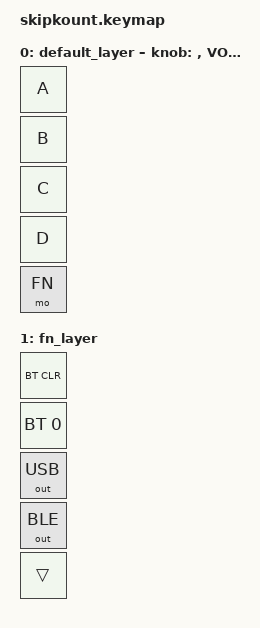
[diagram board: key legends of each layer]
#include <behaviors.dtsi>
#include <dt-bindings/zmk/keys.h>
#include <dt-bindings/zmk/bt.h>
#include <dt-bindings/zmk/outputs.h>

// Layers
#define DEFAULT 0
#define FN 1

/ {  
  keymap {
    compatible = "zmk,keymap";

    /* Default Layer
     * .---------------------------.
     * |  A | XIAO | CALC |  FN  |
     * |------+------+------+------|
     * |  B |   /  |   *  |   -  |
     * |------+------+------+------|
     * |  C |   8  |   9  |      |
     * |------+------+------+   +  |
     * |  D |   5  |   6  |      |
     * |------+------+------+------|
     * |  FN|   2  |   3  |   E  |
     * |------+------+------|   N  |
     * |      0      |   ,  |   T  |
     * '---------------------------'
     */

    default_layer {
      bindings = <
        &kp A
        &kp B
        &kp C
        &kp D
        &mo FN
      >;

#     sensor-bindings = <
#       &inc_dec_kp C_VOL_UP C_VOL_DN
#     >;
    }; 
    
    /* Function Layer
     * .---------------------------.
     * | BT-C  | XIAO |      |      |
     * |------+------+------+------|
     * | BT-0 |      |      | BOOT |
     * |------+------+------+------|
     * | Out USB |      |      | OUT  |
     * |------+------+------+      |
     * | Out BLE | BT-4 |      | USB  |
     * |------+------+------+------|
     * |      | BT-1 | BT-2 | OUT  |
     * |------+------+------|      |
     * |             |      | BLE  |
     * '---------------------------'
     */
    
    fn_layer {
      bindings = <
        &bt BT_CLR
        &bt BT_SEL 0
        &out OUT_USB
        &out OUT_BLE
        &trans
      >;
    };
  };
};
